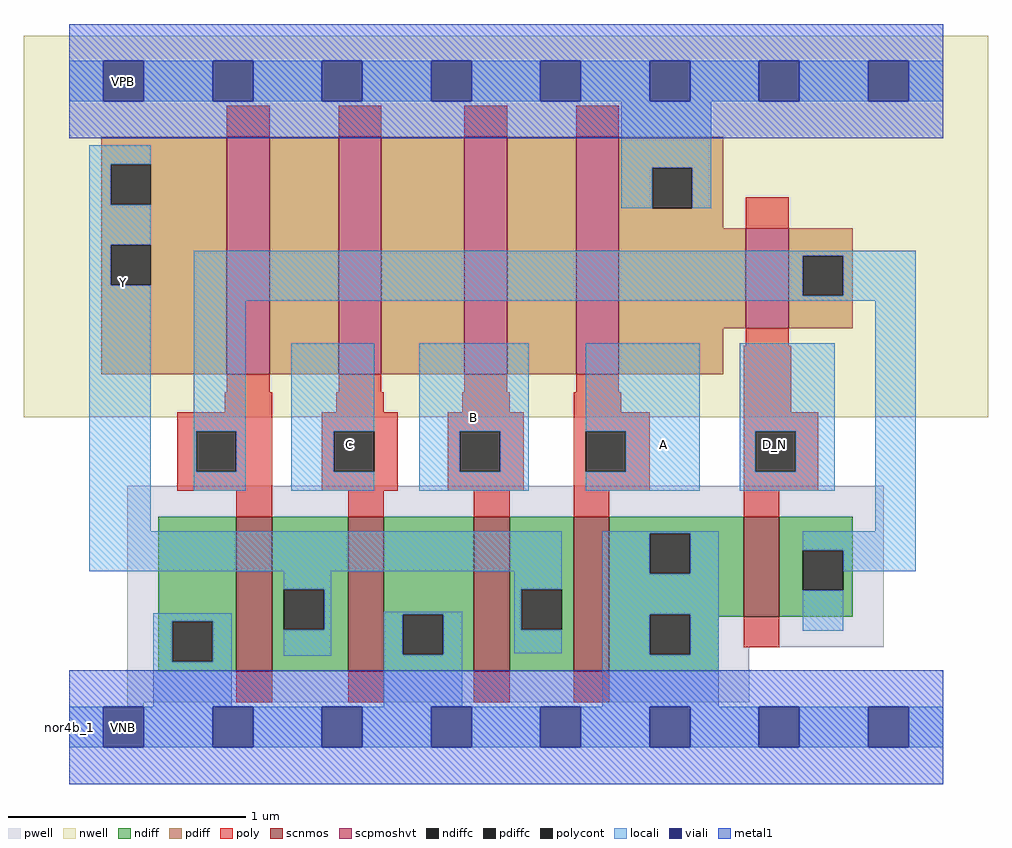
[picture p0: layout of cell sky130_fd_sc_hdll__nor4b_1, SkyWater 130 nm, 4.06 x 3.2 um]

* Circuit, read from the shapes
.subckt sky130_fd_sc_hdll__nor4b_1 A B C D_N VGND VNB VPB VPWR Y
XM1 Y n1 VGND VNB sky130_fd_pr__nfet_01v8 w=0.65 l=0.15
XM2 VGND C Y VNB sky130_fd_pr__nfet_01v8 w=0.65 l=0.15
XM3 Y B VGND VNB sky130_fd_pr__nfet_01v8 w=0.65 l=0.15
XM4 VGND A Y VNB sky130_fd_pr__nfet_01v8 w=0.65 l=0.15
XM5 n1 D_N VGND VNB sky130_fd_pr__nfet_01v8 w=0.42 l=0.15
XM6 n2 n1 Y VPB sky130_fd_pr__pfet_01v8_hvt w=1 l=0.18
XM7 n3 C n2 VPB sky130_fd_pr__pfet_01v8_hvt w=1 l=0.18
XM8 n4 B n3 VPB sky130_fd_pr__pfet_01v8_hvt w=1 l=0.18
XM9 VPWR A n4 VPB sky130_fd_pr__pfet_01v8_hvt w=1 l=0.18
XM10 n1 D_N VPWR VPB sky130_fd_pr__pfet_01v8_hvt w=0.42 l=0.18
.ends

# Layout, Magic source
magic
tech sky130A
magscale 1 2
<< nwell >>
rect -38 261 774 582
<< pwell >>
rect 49 67 686 203
rect 49 21 573 67
rect 49 17 63 21
rect 29 -17 63 17
<< scnmos >>
rect 141 47 171 177
rect 235 47 265 177
rect 341 47 371 177
rect 425 47 455 177
rect 568 93 598 177
<< scpmoshvt >>
rect 133 297 169 497
rect 227 297 263 497
rect 333 297 369 497
rect 427 297 463 497
rect 570 336 606 420
<< ndiff >>
rect 75 89 141 177
rect 75 55 87 89
rect 121 55 141 89
rect 75 47 141 55
rect 171 116 235 177
rect 171 82 181 116
rect 215 82 235 116
rect 171 47 235 82
rect 265 95 341 177
rect 265 61 281 95
rect 315 61 341 95
rect 265 47 341 61
rect 371 116 425 177
rect 371 82 381 116
rect 415 82 425 116
rect 371 47 425 82
rect 455 163 568 177
rect 455 129 489 163
rect 523 129 568 163
rect 455 95 568 129
rect 455 61 489 95
rect 523 93 568 95
rect 598 149 660 177
rect 598 115 618 149
rect 652 115 660 149
rect 598 93 660 115
rect 523 61 547 93
rect 455 47 547 61
<< pdiff >>
rect 27 474 133 497
rect 27 440 35 474
rect 69 440 133 474
rect 27 406 133 440
rect 27 372 35 406
rect 69 372 133 406
rect 27 297 133 372
rect 169 297 227 497
rect 263 297 333 497
rect 369 297 427 497
rect 463 471 551 497
rect 463 437 491 471
rect 525 437 551 471
rect 463 420 551 437
rect 463 336 570 420
rect 606 397 660 420
rect 606 363 618 397
rect 652 363 660 397
rect 606 336 660 363
rect 463 297 551 336
<< ndiffc >>
rect 87 55 121 89
rect 181 82 215 116
rect 281 61 315 95
rect 381 82 415 116
rect 489 129 523 163
rect 489 61 523 95
rect 618 115 652 149
<< pdiffc >>
rect 35 440 69 474
rect 35 372 69 406
rect 491 437 525 471
rect 618 363 652 397
<< poly >>
rect 133 497 169 523
rect 227 497 263 523
rect 333 497 369 523
rect 427 497 463 523
rect 570 420 606 446
rect 570 321 606 336
rect 133 282 169 297
rect 227 282 263 297
rect 333 282 369 297
rect 427 282 463 297
rect 131 265 171 282
rect 225 265 265 282
rect 331 265 371 282
rect 425 265 465 282
rect 568 265 608 321
rect 91 249 171 265
rect 91 215 107 249
rect 141 215 171 249
rect 91 199 171 215
rect 213 249 277 265
rect 213 215 223 249
rect 257 215 277 249
rect 213 199 277 215
rect 319 249 383 265
rect 319 215 329 249
rect 363 215 383 249
rect 319 199 383 215
rect 425 249 489 265
rect 425 215 435 249
rect 469 215 489 249
rect 425 199 489 215
rect 568 249 631 265
rect 568 215 578 249
rect 612 215 631 249
rect 568 199 631 215
rect 141 177 171 199
rect 235 177 265 199
rect 341 177 371 199
rect 425 177 455 199
rect 568 177 598 199
rect 568 67 598 93
rect 141 21 171 47
rect 235 21 265 47
rect 341 21 371 47
rect 425 21 455 47
<< polycont >>
rect 107 215 141 249
rect 223 215 257 249
rect 329 215 363 249
rect 435 215 469 249
rect 578 215 612 249
<< locali >>
rect 0 527 29 561
rect 63 527 121 561
rect 155 527 213 561
rect 247 527 305 561
rect 339 527 397 561
rect 431 527 489 561
rect 523 527 581 561
rect 615 527 673 561
rect 707 527 736 561
rect 17 474 69 490
rect 17 440 35 474
rect 17 406 69 440
rect 465 471 541 527
rect 465 437 491 471
rect 525 437 541 471
rect 17 372 35 406
rect 17 165 69 372
rect 105 397 713 401
rect 105 363 618 397
rect 652 363 713 397
rect 105 359 713 363
rect 105 249 149 359
rect 105 215 107 249
rect 141 215 149 249
rect 105 199 149 215
rect 187 249 257 323
rect 187 215 223 249
rect 187 199 257 215
rect 295 249 387 323
rect 295 215 329 249
rect 363 215 387 249
rect 295 199 387 215
rect 435 249 531 323
rect 469 215 531 249
rect 435 199 531 215
rect 565 249 645 323
rect 565 215 578 249
rect 612 215 645 249
rect 565 199 645 215
rect 679 165 713 359
rect 17 131 415 165
rect 181 116 221 131
rect 71 89 137 96
rect 71 55 87 89
rect 121 55 137 89
rect 215 82 221 116
rect 375 116 415 131
rect 181 60 221 82
rect 265 95 331 97
rect 265 61 281 95
rect 315 61 331 95
rect 375 82 381 116
rect 375 62 415 82
rect 449 163 547 165
rect 449 129 489 163
rect 523 129 547 163
rect 449 95 547 129
rect 71 17 137 55
rect 265 17 331 61
rect 449 61 489 95
rect 523 61 547 95
rect 618 149 713 165
rect 652 131 713 149
rect 618 81 652 115
rect 449 17 547 61
rect 0 -17 29 17
rect 63 -17 121 17
rect 155 -17 213 17
rect 247 -17 305 17
rect 339 -17 397 17
rect 431 -17 489 17
rect 523 -17 581 17
rect 615 -17 673 17
rect 707 -17 736 17
<< viali >>
rect 29 527 63 561
rect 121 527 155 561
rect 213 527 247 561
rect 305 527 339 561
rect 397 527 431 561
rect 489 527 523 561
rect 581 527 615 561
rect 673 527 707 561
rect 29 -17 63 17
rect 121 -17 155 17
rect 213 -17 247 17
rect 305 -17 339 17
rect 397 -17 431 17
rect 489 -17 523 17
rect 581 -17 615 17
rect 673 -17 707 17
<< metal1 >>
rect 0 561 736 592
rect 0 527 29 561
rect 63 527 121 561
rect 155 527 213 561
rect 247 527 305 561
rect 339 527 397 561
rect 431 527 489 561
rect 523 527 581 561
rect 615 527 673 561
rect 707 527 736 561
rect 0 496 736 527
rect 0 17 736 48
rect 0 -17 29 17
rect 63 -17 121 17
rect 155 -17 213 17
rect 247 -17 305 17
rect 339 -17 397 17
rect 431 -17 489 17
rect 523 -17 581 17
rect 615 -17 673 17
rect 707 -17 736 17
rect 0 -48 736 -17
<< labels >>
flabel locali s 219 221 253 255 0 FreeSans 400 0 0 0 C
port 3 nsew signal input
flabel locali s 295 199 387 323 0 FreeSans 400 0 0 0 B
port 2 nsew signal input
flabel locali s 484 221 518 255 0 FreeSans 400 0 0 0 A
port 1 nsew signal input
flabel locali s 577 221 611 255 0 FreeSans 400 0 0 0 D_N
port 4 nsew signal input
flabel locali s 29 357 63 391 0 FreeSans 200 0 0 0 Y
port 9 nsew signal output
flabel nwell s 29 527 63 561 0 FreeSans 200 0 0 0 VPB
port 7 nsew power bidirectional
flabel pwell s 29 -17 63 17 0 FreeSans 200 0 0 0 VNB
port 6 nsew ground bidirectional
flabel metal1 s 29 -17 63 17 0 FreeSans 200 0 0 0 VGND
port 5 nsew ground bidirectional
flabel metal1 s 29 527 63 561 0 FreeSans 200 0 0 0 VPWR
port 8 nsew power bidirectional
rlabel comment s 0 0 0 0 4 nor4b_1
<< properties >>
string LEFsite unithd
string LEFclass CORE
string FIXED_BBOX 0 0 736 544
string GDS_FILE $PDKPATH/libs.ref/sky130_fd_sc_hdll/gds/sky130_fd_sc_hdll.gds
string LEFsymmetry X Y R90
string GDS_END 1079714
string GDS_START 1074220
string LEFproperties maskLayoutSubType "abstract" prCellType "standard" originalViewName "layout"
<< end >>
